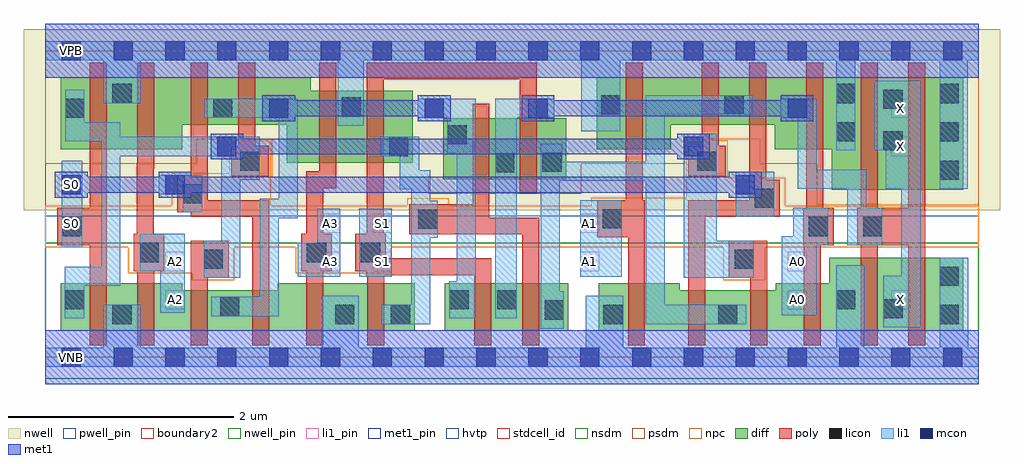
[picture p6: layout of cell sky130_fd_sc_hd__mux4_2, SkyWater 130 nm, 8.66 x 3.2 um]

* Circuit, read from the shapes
.subckt sky130_fd_sc_hd__mux4_2 A0 A1 A2 A3 S0 S1 VGND VNB VPB VPWR X
XM1 VGND S0 n1 VNB sky130_fd_pr__nfet_01v8 w=0.42 l=0.15
XM2 n2 A2 VGND VNB sky130_fd_pr__nfet_01v8 w=0.42 l=0.15
XM3 n3 n1 n2 VNB sky130_fd_pr__nfet_01v8 w=0.36 l=0.15
XM4 n4 S0 n3 VNB sky130_fd_pr__nfet_01v8 w=0.36 l=0.15
XM5 VGND A3 n4 VNB sky130_fd_pr__nfet_01v8 w=0.42 l=0.15
XM6 n5 S1 VGND VNB sky130_fd_pr__nfet_01v8 w=0.42 l=0.15
XM7 n6 S1 n3 VNB sky130_fd_pr__nfet_01v8 w=0.42 l=0.15
XM8 n7 n5 n6 VNB sky130_fd_pr__nfet_01v8 w=0.42 l=0.15
XM9 n8 A1 VGND VNB sky130_fd_pr__nfet_01v8 w=0.42 l=0.15
XM10 n7 S0 n8 VNB sky130_fd_pr__nfet_01v8 w=0.36 l=0.15
XM11 n9 n1 n7 VNB sky130_fd_pr__nfet_01v8 w=0.36 l=0.15
XM12 VGND A0 n9 VNB sky130_fd_pr__nfet_01v8 w=0.42 l=0.15
XM13 X n6 VGND VNB sky130_fd_pr__nfet_01v8 w=0.65 l=0.15 m=2
XM14 VPWR S0 n1 VPB sky130_fd_pr__pfet_01v8_hvt w=0.64 l=0.15
XM15 n10 A2 VPWR VPB sky130_fd_pr__pfet_01v8_hvt w=0.64 l=0.15
XM16 n3 S0 n10 VPB sky130_fd_pr__pfet_01v8_hvt w=0.42 l=0.15
XM17 n11 n1 n3 VPB sky130_fd_pr__pfet_01v8_hvt w=0.42 l=0.15
XM18 VPWR A3 n11 VPB sky130_fd_pr__pfet_01v8_hvt w=0.64 l=0.15
XM19 n5 S1 VPWR VPB sky130_fd_pr__pfet_01v8_hvt w=0.64 l=0.15
XM20 n6 n5 n3 VPB sky130_fd_pr__pfet_01v8_hvt w=0.54 l=0.15
XM21 n7 S1 n6 VPB sky130_fd_pr__pfet_01v8_hvt w=0.54 l=0.15
XM22 n12 A1 VPWR VPB sky130_fd_pr__pfet_01v8_hvt w=0.64 l=0.15
XM23 n7 n1 n12 VPB sky130_fd_pr__pfet_01v8_hvt w=0.42 l=0.15
XM24 n13 S0 n7 VPB sky130_fd_pr__pfet_01v8_hvt w=0.42 l=0.15
XM25 VPWR A0 n13 VPB sky130_fd_pr__pfet_01v8_hvt w=0.64 l=0.15
XM26 X n6 VPWR VPB sky130_fd_pr__pfet_01v8_hvt w=1 l=0.15 m=2
.ends

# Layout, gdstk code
import gdstk
lib = gdstk.Library(unit=1e-6, precision=1e-09)
def R(c, l, rs):  # rectangles x0, y0, x1, y1
    for r in rs: c.add(gdstk.rectangle(r[:2], r[2:], *l))
def A(c, l, x, y, w, h, nx, ny, dx, dy):  # array of equal rectangles
    R(c, l, [(x+i*dx, y+j*dy, x+i*dx+w, y+j*dy+h) for i in range(nx) for j in range(ny)])
def P(c, l, *ps):  # polygons
    for p in ps: c.add(gdstk.Polygon(p, *l))
nwell_pin = (64, 16)
nwell = (64, 20)
diff = (65, 20)
poly = (66, 20)
licon = (66, 44)
li1_pin = (67, 16)
li1 = (67, 20)
mcon = (67, 44)
met1_pin = (68, 16)
met1 = (68, 20)
hvtp = (78, 44)
stdcell_id = (81, 4)
nsdm = (93, 44)
psdm = (94, 20)
npc = (95, 20)
pwell_pin = (122, 16)
boundary2 = (236, 0)

sky130_fd_sc_hd__mux4_2 = lib.new_cell('sky130_fd_sc_hd__mux4_2')
R(sky130_fd_sc_hd__mux4_2, nwell_pin, [(0.145,2.635,0.315,2.805)])
R(sky130_fd_sc_hd__mux4_2, nwell, [(-0.19,1.305,8.47,2.91)])
R(sky130_fd_sc_hd__mux4_2, diff, [(3.545,0.235,4.64,0.655), (3.53,1.58,4.62,2.12)])
P(sky130_fd_sc_hd__mux4_2, diff, [(8.145,0.885),(6.955,0.885),(6.955,0.655),(6.48,0.655),(6.48,0.595),(5.63,0.595),(5.63,0.655),(4.91,0.655),(4.91,0.235),(8.145,0.235)],
  [(3.275,0.655),(2.06,0.655),(2.06,0.595),(1.215,0.595),(1.215,0.655),(0.135,0.655),(0.135,0.235),(3.275,0.235)],
  [(8.145,2.485),(4.89,2.485),(4.89,1.845),(5.55,1.845),(5.55,2.065),(6.47,2.065),(6.47,1.845),(6.975,1.845),(6.975,1.485),(8.145,1.485)],
  [(3.26,2.365),(2.355,2.365),(2.355,2.485),(0.135,2.485),(0.135,1.845),(1.215,1.845),(1.215,2.065),(2.14,2.065),(2.14,1.725),(3.26,1.725)])
P(sky130_fd_sc_hd__mux4_2, poly, [(1.985,1.395),(1.44,1.395),(1.44,2.615),(1.29,2.615),(1.29,1.615),(1.17,1.615),(1.17,1.285),(1.29,1.285),(1.29,1.245),(1.835,1.245),(1.835,0.105),(1.985,0.105)],
  [(1.055,1.095),(0.96,1.095),(0.96,1.675),(0.965,1.675),(0.965,2.615),(0.815,2.615),(0.815,1.715),(0.81,1.715),(0.81,1.095),(0.785,1.095),(0.785,0.765),(0.815,0.765),(0.815,0.105),(0.965,0.105),(0.965,0.765),(1.055,0.765)],
  [(4.38,1.24),(3.94,1.24),(3.94,2.25),(3.79,2.25),(3.79,1.36),(3.23,1.36),(3.23,1.09),(4.23,1.09),(4.23,0.105),(4.38,0.105)],
  [(4.36,2.615),(2.85,2.615),(2.85,1.095),(2.75,1.095),(2.75,0.765),(2.845,0.765),(2.845,0.73),(2.855,0.73),(2.855,0.105),(3.005,0.105),(3.005,0.73),(3.805,0.73),(3.805,0.105),(3.955,0.105),(3.955,0.88),(3.02,0.88),(3.02,1.095),(3,1.095),(3,2.465),(4.21,2.465),(4.21,1.45),(4.36,1.45)],
  [(2.58,2.615),(2.43,2.615),(2.43,1.65),(2.315,1.65),(2.315,1.095),(2.27,1.095),(2.27,0.765),(2.315,0.765),(2.315,0.105),(2.465,0.105),(2.465,0.765),(2.54,0.765),(2.54,1.095),(2.465,1.095),(2.465,1.5),(2.58,1.5)],
  [(0.545,2.615),(0.395,2.615),(0.395,1.325),(0.105,1.325),(0.105,0.995),(0.395,0.995),(0.395,0.105),(0.545,0.105)],
  [(1.98,1.875),(1.86,1.875),(1.86,2.615),(1.71,2.615),(1.71,1.875),(1.65,1.875),(1.65,1.605),(1.98,1.605)],
  [(1.625,1.035),(1.29,1.035),(1.29,0.105),(1.44,0.105),(1.44,0.705),(1.625,0.705)],
  [(5.32,1.395),(5.3,1.395),(5.3,2.615),(5.15,2.615),(5.15,1.395),(4.895,1.395),(4.895,1.065),(5.17,1.065),(5.17,0.105),(5.32,0.105)],
  [(6.035,1.875),(5.975,1.875),(5.975,2.615),(5.825,2.615),(5.825,1.875),(5.705,1.875),(5.705,1.605),(6.035,1.605)],
  [(6.405,1.035),(6.065,1.035),(6.065,0.705),(6.255,0.705),(6.255,0.105),(6.405,0.105)],
  [(6.515,1.575),(6.395,1.575),(6.395,2.615),(6.245,2.615),(6.245,1.395),(5.705,1.395),(5.705,0.105),(5.855,0.105),(5.855,1.245),(6.515,1.245)],
  [(6.995,1.325),(6.9,1.325),(6.9,2.615),(6.75,2.615),(6.75,1.325),(6.725,1.325),(6.725,0.995),(6.73,0.995),(6.73,0.105),(6.88,0.105),(6.88,0.995),(6.995,0.995)],
  [(7.805,2.615),(7.655,2.615),(7.655,1.325),(7.385,1.325),(7.385,2.615),(7.235,2.615),(7.235,1.325),(7.205,1.325),(7.205,0.995),(7.235,0.995),(7.235,0.105),(7.385,0.105),(7.385,0.995),(7.655,0.995),(7.655,0.105),(7.805,0.105)])
A(sky130_fd_sc_hd__mux4_2, licon, 7.935, 1.575, 0.17, 0.17, 1, 3, 0, 0.34)
R(sky130_fd_sc_hd__mux4_2, licon, [(0.595,0.295,0.765,0.465), (2.57,0.295,2.74,0.465), (3.065,0.295,3.235,0.465), (4.95,0.295,5.12,0.465), (5.97,0.295,6.14,0.465), (7.935,0.295,8.105,0.465), (4.43,0.335,4.6,0.505), (7.435,0.345,7.605,0.515), (1.55,0.365,1.72,0.535), (0.175,0.425,0.345,0.595), (3.585,0.425,3.755,0.595), (4.01,0.425,4.18,0.595), (7.015,0.425,7.185,0.595), (7.935,0.635,8.105,0.805), (1.405,0.785,1.575,0.955), (6.115,0.785,6.285,0.955), (0.835,0.845,1.005,1.015), (2.32,0.845,2.49,1.015), (2.8,0.845,2.97,1.015), (0.155,1.075,0.325,1.245), (6.775,1.075,6.945,1.245), (7.255,1.075,7.425,1.245), (3.31,1.14,3.48,1.31), (4.945,1.145,5.115,1.315), (6.295,1.325,6.465,1.495), (1.22,1.365,1.39,1.535), (3.99,1.64,4.16,1.81), (4.41,1.645,4.58,1.815), (1.73,1.655,1.9,1.825), (5.785,1.655,5.955,1.825), (3.05,1.785,3.22,1.955), (7.435,1.835,7.605,2.005), (3.57,1.89,3.74,2.06), (7.015,1.915,7.185,2.085), (0.175,2.125,0.345,2.295), (1.49,2.125,1.66,2.295), (2.63,2.135,2.8,2.305), (4.93,2.155,5.1,2.325), (6.025,2.155,6.195,2.325), (7.435,2.205,7.605,2.375), (0.595,2.255,0.765,2.425), (7.015,2.255,7.185,2.425)])
A(sky130_fd_sc_hd__mux4_2, li1_pin, 2.905, 0.765, 0.17, 0.17, 3, 1, 1.84, 0)
R(sky130_fd_sc_hd__mux4_2, li1_pin, [(1.065,0.425,1.235,0.595), (6.585,0.425,6.755,0.595), (7.505,0.425,7.675,0.595), (1.065,0.765,1.235,0.935), (2.445,0.765,2.615,0.935), (0.145,1.105,0.315,1.275), (2.445,1.105,2.615,1.275), (2.905,1.105,3.075,1.275), (4.745,1.105,4.915,1.275), (0.145,1.445,0.315,1.615), (7.505,1.785,7.675,1.955), (7.505,2.125,7.675,2.295)])
R(sky130_fd_sc_hd__mux4_2, li1, [(2.785,0.715,3.075,1.32), (4.745,0.715,5.115,1.395), (0.145,0.975,0.325,1.745), (6.125,1.245,6.465,1.645)])
P(sky130_fd_sc_hd__mux4_2, li1, [(1.235,1.095),(0.835,1.095),(0.835,0.765),(1.02,0.765),(1.02,0.395),(1.235,0.395)],
  [(6.275,2.325),(5.325,2.325),(5.325,1.735),(4.585,1.735),(4.585,1.895),(4.395,1.895),(4.395,0.255),(4.6,0.255),(4.6,0.585),(4.565,0.585),(4.565,1.565),(5.325,1.565),(5.325,0.295),(6.22,0.295),(6.22,0.465),(5.495,0.465),(5.495,2.155),(6.275,2.155)],
  [(1.39,1.615),(1.005,1.615),(1.005,1.445),(1.22,1.445),(1.22,1.285),(1.39,1.285)],
  [(1.9,1.955),(0.665,1.955),(0.665,2.085),(0.345,2.085),(0.345,2.375),(0.175,2.375),(0.175,1.915),(0.495,1.915),(0.495,0.805),(0.17,0.805),(0.17,0.345),(0.345,0.345),(0.345,0.635),(0.665,0.635),(0.665,1.785),(1.56,1.785),(1.56,1.035),(1.405,1.035),(1.405,0.705),(1.73,0.705),(1.73,1.575),(1.9,1.575)],
  [(2.24,2.295),(1.41,2.295),(1.41,2.125),(2.07,2.125),(2.07,1.405),(1.9,1.405),(1.9,0.535),(1.47,0.535),(1.47,0.365),(2.07,0.365),(2.07,1.235),(2.24,1.235)],
  [(2.615,1.32),(2.41,1.32),(2.41,1.015),(2.24,1.015),(2.24,0.715),(2.615,0.715)],
  [(7.765,2.455),(7.355,2.455),(7.355,1.835),(7.455,1.835),(7.455,1.495),(7.595,1.495),(7.595,0.725),(7.435,0.725),(7.435,0.265),(7.765,0.265)],
  [(6.285,1.035),(5.955,1.035),(5.955,1.985),(5.665,1.985),(5.665,0.705),(6.285,0.705)],
  [(6.945,1.325),(6.635,1.325),(6.635,1.075),(6.535,1.075),(6.535,0.375),(6.845,0.375),(6.845,0.995),(6.945,0.995)],
  [(7.425,1.325),(7.285,1.325),(7.285,1.665),(6.845,1.665),(6.845,2.295),(6.525,2.295),(6.525,2.125),(6.675,2.125),(6.675,1.495),(7.115,1.495),(7.115,0.995),(7.425,0.995)],
  [(3.48,1.39),(3.415,1.39),(3.415,1.66),(3.315,1.66),(3.315,1.955),(2.97,1.955),(2.97,1.785),(3.145,1.785),(3.145,1.49),(3.245,1.49),(3.245,0.465),(2.985,0.465),(2.985,0.295),(3.415,0.295),(3.415,1.06),(3.48,1.06)],
  [(3.82,2.295),(3.305,2.295),(3.305,2.125),(3.565,2.125),(3.565,1.81),(3.65,1.81),(3.65,0.675),(3.585,0.675),(3.585,0.345),(3.82,0.345)],
  [(4.515,2.295),(3.99,2.295),(3.99,0.345),(4.18,0.345),(4.18,2.125),(4.515,2.125)],
  [(8.28,2.805),(0,2.805),(0,2.635),(0.515,2.635),(0.515,2.255),(0.845,2.255),(0.845,2.635),(2.595,2.635),(2.595,2.055),(2.825,2.055),(2.825,2.635),(4.755,2.635),(4.755,2.005),(5.1,2.005),(5.1,2.635),(7.015,2.635),(7.015,1.835),(7.185,1.835),(7.185,2.635),(7.935,2.635),(7.935,1.495),(8.185,1.495),(8.185,2.635),(8.28,2.635)],
  [(8.28,0.085),(8.19,0.085),(8.19,0.885),(7.935,0.885),(7.935,0.085),(7.265,0.085),(7.265,0.815),(7.015,0.815),(7.015,0.085),(5.125,0.085),(5.125,0.545),(4.795,0.545),(4.795,0.085),(2.78,0.085),(2.78,0.545),(2.45,0.545),(2.45,0.085),(0.845,0.085),(0.845,0.465),(0.515,0.465),(0.515,0.085),(0,0.085),(0,-0.085),(8.28,-0.085)])
A(sky130_fd_sc_hd__mux4_2, mcon, 0.145, -0.085, 0.17, 0.17, 18, 2, 0.46, 2.72)
R(sky130_fd_sc_hd__mux4_2, mcon, [(0.145,1.445,0.315,1.615), (1.065,1.445,1.235,1.615), (6.125,1.445,6.295,1.615), (1.525,1.785,1.695,1.955), (5.665,1.785,5.835,1.955), (1.985,2.125,2.155,2.295), (3.365,2.125,3.535,2.295), (4.285,2.125,4.455,2.295), (6.585,2.125,6.755,2.295)])
R(sky130_fd_sc_hd__mux4_2, met1_pin, [(0.145,-0.085,0.315,0.085), (0.145,2.635,0.315,2.805)])
P(sky130_fd_sc_hd__mux4_2, met1, [(3.595,2.325),(3.305,2.325),(3.305,2.28),(2.215,2.28),(2.215,2.325),(1.925,2.325),(1.925,2.095),(2.215,2.095),(2.215,2.14),(3.305,2.14),(3.305,2.095),(3.595,2.095)],
  [(6.355,1.645),(6.065,1.645),(6.065,1.6),(1.295,1.6),(1.295,1.645),(1.005,1.645),(1.005,1.6),(0.375,1.6),(0.375,1.645),(0.085,1.645),(0.085,1.415),(0.375,1.415),(0.375,1.46),(1.005,1.46),(1.005,1.415),(1.295,1.415),(1.295,1.46),(6.065,1.46),(6.065,1.415),(6.355,1.415)],
  [(5.895,1.985),(5.605,1.985),(5.605,1.94),(1.755,1.94),(1.755,1.985),(1.465,1.985),(1.465,1.755),(1.755,1.755),(1.755,1.8),(5.605,1.8),(5.605,1.755),(5.895,1.755)],
  [(6.815,2.325),(6.525,2.325),(6.525,2.28),(4.515,2.28),(4.515,2.325),(4.225,2.325),(4.225,2.095),(4.515,2.095),(4.515,2.14),(6.525,2.14),(6.525,2.095),(6.815,2.095)])
R(sky130_fd_sc_hd__mux4_2, hvtp, [(0,1.25,8.28,2.72)])
R(sky130_fd_sc_hd__mux4_2, stdcell_id, [(0,0,8.28,2.72)])
R(sky130_fd_sc_hd__mux4_2, nsdm, [(0,-0.19,8.28,1.015)])
P(sky130_fd_sc_hd__mux4_2, psdm, [(8.28,2.91),(0,2.91),(0,1.715),(1.345,1.715),(1.345,1.935),(2.01,1.935),(2.01,1.595),(3.395,1.595),(3.395,1.45),(4.755,1.45),(4.755,1.715),(5.675,1.715),(5.675,1.935),(6.34,1.935),(6.34,1.715),(6.845,1.715),(6.845,1.355),(8.28,1.355)])
P(sky130_fd_sc_hd__mux4_2, npc, [(8.28,1.345),(6.565,1.345),(6.565,1.595),(6.055,1.595),(6.055,1.925),(5.685,1.925),(5.685,1.415),(4.845,1.415),(4.845,1.345),(3.58,1.345),(3.58,1.41),(3.21,1.41),(3.21,1.345),(2,1.345),(2,1.925),(1.63,1.925),(1.63,1.635),(1.12,1.635),(1.12,1.345),(0,1.345),(0,0.975),(0.735,0.975),(0.735,0.745),(1.305,0.745),(1.305,0.685),(1.675,0.685),(1.675,0.975),(2.22,0.975),(2.22,0.745),(3.07,0.745),(3.07,0.975),(6.015,0.975),(6.015,0.685),(6.385,0.685),(6.385,0.975),(8.28,0.975)])
R(sky130_fd_sc_hd__mux4_2, pwell_pin, [(0.145,-0.085,0.315,0.085)])
R(sky130_fd_sc_hd__mux4_2, boundary2, [(0,0,8.28,2.72)])
sky130_fd_sc_hd__mux4_2.add(gdstk.FlexPath([(0,0),(8.28,0)], 0.48, ends="flush", simple_path=True, layer=68, datatype=20))  # met1
sky130_fd_sc_hd__mux4_2.add(gdstk.FlexPath([(0,2.72),(8.28,2.72)], 0.48, ends="flush", simple_path=True, layer=68, datatype=20))  # met1
sky130_fd_sc_hd__mux4_2.add(gdstk.Label('VNB', (0.23,0), layer=64, texttype=59))
sky130_fd_sc_hd__mux4_2.add(gdstk.Label('VPB', (0.23,2.72), layer=64, texttype=5))
sky130_fd_sc_hd__mux4_2.add(gdstk.Label('VGND', (0.23,0), layer=68, texttype=5))
sky130_fd_sc_hd__mux4_2.add(gdstk.Label('VPWR', (0.23,2.72), layer=68, texttype=5))
sky130_fd_sc_hd__mux4_2.add(gdstk.Label('X', (7.59,1.87), layer=67, texttype=5))
sky130_fd_sc_hd__mux4_2.add(gdstk.Label('S0', (0.23,1.19), layer=67, texttype=5))
sky130_fd_sc_hd__mux4_2.add(gdstk.Label('S0', (0.23,1.53), layer=67, texttype=5))
sky130_fd_sc_hd__mux4_2.add(gdstk.Label('A2', (1.15,0.85), layer=67, texttype=5))
sky130_fd_sc_hd__mux4_2.add(gdstk.Label('A2', (1.15,0.51), layer=67, texttype=5))
sky130_fd_sc_hd__mux4_2.add(gdstk.Label('A3', (2.53,0.85), layer=67, texttype=5))
sky130_fd_sc_hd__mux4_2.add(gdstk.Label('A3', (2.53,1.19), layer=67, texttype=5))
sky130_fd_sc_hd__mux4_2.add(gdstk.Label('S1', (2.99,1.19), layer=67, texttype=5))
sky130_fd_sc_hd__mux4_2.add(gdstk.Label('S1', (2.99,0.85), layer=67, texttype=5))
sky130_fd_sc_hd__mux4_2.add(gdstk.Label('A1', (4.83,1.19), layer=67, texttype=5))
sky130_fd_sc_hd__mux4_2.add(gdstk.Label('A1', (4.83,0.85), layer=67, texttype=5))
sky130_fd_sc_hd__mux4_2.add(gdstk.Label('A0', (6.67,0.85), layer=67, texttype=5))
sky130_fd_sc_hd__mux4_2.add(gdstk.Label('A0', (6.67,0.51), layer=67, texttype=5))
sky130_fd_sc_hd__mux4_2.add(gdstk.Label('X', (7.59,0.51), layer=67, texttype=5))
sky130_fd_sc_hd__mux4_2.add(gdstk.Label('X', (7.59,2.21), layer=67, texttype=5))
sky130_fd_sc_hd__mux4_2.add(gdstk.Label('mux4_2', (0,0), layer=83, texttype=44))

lib.write_gds('sky130_fd_sc_hd__mux4_2.gds')
